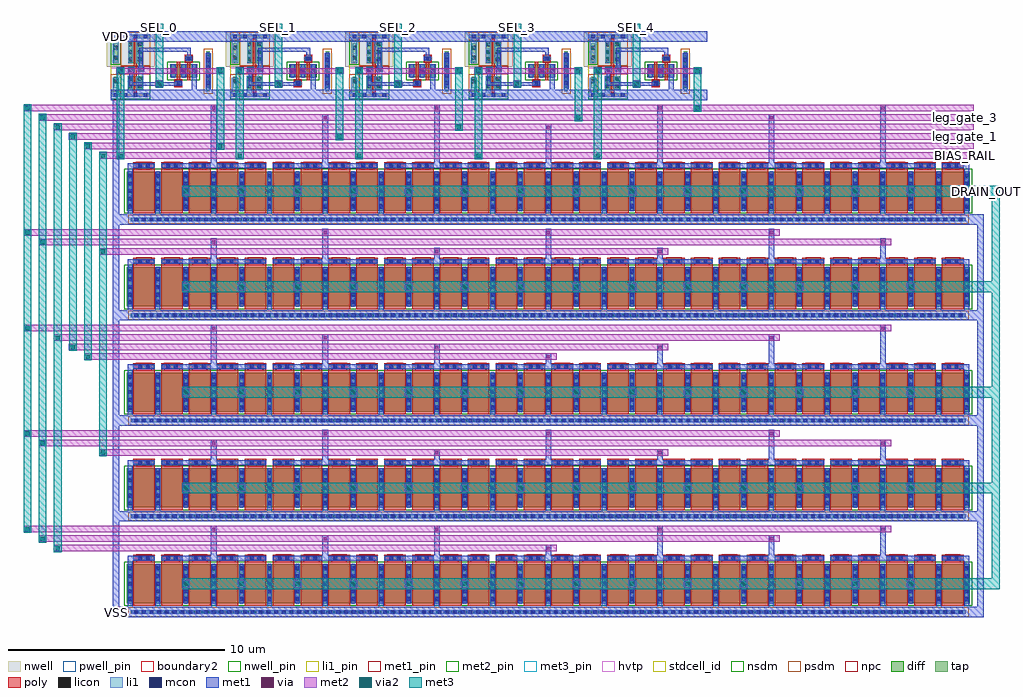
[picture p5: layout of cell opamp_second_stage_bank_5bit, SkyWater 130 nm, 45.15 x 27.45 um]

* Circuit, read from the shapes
.subckt opamp_second_stage_bank_5bit BIAS_RAIL DRAIN_OUT SEL_0 SEL_1 SEL_2 SEL_3 SEL_4 VDD VSS leg_gate_0 leg_gate_1 leg_gate_2 leg_gate_3 leg_gate_4
XM1 VSS VSS VSS VSS sky130_fd_pr__nfet_01v8 w=1.8 l=1 m=10
XM2 switch_nmos_gate_select_3/sel_b SEL_0 VSS VSS sky130_fd_pr__nfet_01v8 w=0.65 l=0.15
XM3 DRAIN_OUT leg_gate_4 VSS VSS sky130_fd_pr__nfet_01v8 w=1.8 l=1 m=64
XM4 DRAIN_OUT leg_gate_3 VSS VSS sky130_fd_pr__nfet_01v8 w=1.8 l=1 m=32
XM5 leg_gate_0 SEL_0 BIAS_RAIL VSS sky130_fd_pr__nfet_01v8 w=0.6 l=0.15
XM6 VSS switch_nmos_gate_select_3/sel_b leg_gate_0 VSS sky130_fd_pr__nfet_01v8 w=0.6 l=0.15
XM7 switch_nmos_gate_select_1/sel_b SEL_1 VSS VSS sky130_fd_pr__nfet_01v8 w=0.65 l=0.15
XM8 DRAIN_OUT leg_gate_2 VSS VSS sky130_fd_pr__nfet_01v8 w=1.8 l=1 m=16
XM9 leg_gate_1 SEL_1 BIAS_RAIL VSS sky130_fd_pr__nfet_01v8 w=0.6 l=0.15
XM10 VSS switch_nmos_gate_select_1/sel_b leg_gate_1 VSS sky130_fd_pr__nfet_01v8 w=0.6 l=0.15
XM11 switch_nmos_gate_select_7/sel_b SEL_2 VSS VSS sky130_fd_pr__nfet_01v8 w=0.65 l=0.15
XM12 DRAIN_OUT BIAS_RAIL VSS VSS sky130_fd_pr__nfet_01v8 w=1.8 l=1 m=16
XM13 DRAIN_OUT leg_gate_1 VSS VSS sky130_fd_pr__nfet_01v8 w=1.8 l=1 m=8
XM14 leg_gate_2 SEL_2 BIAS_RAIL VSS sky130_fd_pr__nfet_01v8 w=0.6 l=0.15
XM15 VSS switch_nmos_gate_select_7/sel_b leg_gate_2 VSS sky130_fd_pr__nfet_01v8 w=0.6 l=0.15
XM16 switch_nmos_gate_select_5/sel_b SEL_3 VSS VSS sky130_fd_pr__nfet_01v8 w=0.65 l=0.15
XM17 DRAIN_OUT leg_gate_0 VSS VSS sky130_fd_pr__nfet_01v8 w=1.8 l=1 m=4
XM18 leg_gate_3 SEL_3 BIAS_RAIL VSS sky130_fd_pr__nfet_01v8 w=0.6 l=0.15
XM19 VSS switch_nmos_gate_select_5/sel_b leg_gate_3 VSS sky130_fd_pr__nfet_01v8 w=0.6 l=0.15
XM20 switch_nmos_gate_select_0/sel_b SEL_4 VSS VSS sky130_fd_pr__nfet_01v8 w=0.65 l=0.15
XM21 leg_gate_4 SEL_4 BIAS_RAIL VSS sky130_fd_pr__nfet_01v8 w=0.6 l=0.15
XM22 VSS switch_nmos_gate_select_0/sel_b leg_gate_4 VSS sky130_fd_pr__nfet_01v8 w=0.6 l=0.15
XM23 switch_nmos_gate_select_3/sel_b SEL_0 VDD VDD sky130_fd_pr__pfet_01v8_hvt w=1 l=0.15
XM24 switch_nmos_gate_select_1/sel_b SEL_1 VDD VDD sky130_fd_pr__pfet_01v8_hvt w=1 l=0.15
XM25 switch_nmos_gate_select_7/sel_b SEL_2 VDD VDD sky130_fd_pr__pfet_01v8_hvt w=1 l=0.15
XM26 switch_nmos_gate_select_5/sel_b SEL_3 VDD VDD sky130_fd_pr__pfet_01v8_hvt w=1 l=0.15
XM27 switch_nmos_gate_select_0/sel_b SEL_4 VDD VDD sky130_fd_pr__pfet_01v8_hvt w=1 l=0.15
.ends

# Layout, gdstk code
import gdstk
lib = gdstk.Library(unit=1e-6, precision=1e-09)
def R(c, l, rs):  # rectangles x0, y0, x1, y1
    for r in rs: c.add(gdstk.rectangle(r[:2], r[2:], *l))
def A(c, l, x, y, w, h, nx, ny, dx, dy):  # array of equal rectangles
    R(c, l, [(x+i*dx, y+j*dy, x+i*dx+w, y+j*dy+h) for i in range(nx) for j in range(ny)])
def P(c, l, *ps):  # polygons
    for p in ps: c.add(gdstk.Polygon(p, *l))
nwell_pin = (64, 16)
nwell = (64, 20)
diff = (65, 20)
tap = (65, 44)
poly = (66, 20)
licon = (66, 44)
li1_pin = (67, 16)
li1 = (67, 20)
mcon = (67, 44)
met1_pin = (68, 16)
met1 = (68, 20)
via = (68, 44)
met2_pin = (69, 16)
met2 = (69, 20)
via2 = (69, 44)
met3_pin = (70, 16)
met3 = (70, 20)
hvtp = (78, 44)
stdcell_id = (81, 4)
nsdm = (93, 44)
psdm = (94, 20)
npc = (95, 20)
pwell_pin = (122, 16)
boundary2 = (236, 0)

sky130_fd_sc_hd__inv_1 = lib.new_cell('sky130_fd_sc_hd__inv_1')
R(sky130_fd_sc_hd__inv_1, nwell_pin, [(0.145,2.635,0.315,2.805), (0.145,2.635,0.315,2.805)])
R(sky130_fd_sc_hd__inv_1, nwell, [(-0.19,1.305,1.57,2.91)])
R(sky130_fd_sc_hd__inv_1, diff, [(0.34,0.235,1.01,0.885), (0.34,1.485,1.01,2.485)])
P(sky130_fd_sc_hd__inv_1, poly, [(0.6,0.105),(0.6,0.995),(0.32,0.995),(0.32,1.325),(0.6,1.325),(0.6,2.615),(0.75,2.615),(0.75,0.105)])
A(sky130_fd_sc_hd__inv_1, licon, 0.38, 1.575, 0.17, 0.17, 1, 3, 0, 0.34)
A(sky130_fd_sc_hd__inv_1, licon, 0.8, 1.575, 0.17, 0.17, 1, 3, 0, 0.34)
R(sky130_fd_sc_hd__inv_1, licon, [(0.38,0.315,0.55,0.485), (0.8,0.315,0.97,0.485), (0.38,0.655,0.55,0.825), (0.8,0.655,0.97,0.825), (0.4,1.075,0.57,1.245)])
R(sky130_fd_sc_hd__inv_1, li1_pin, [(0.36,1.105,0.53,1.275), (0.82,1.105,0.99,1.275), (0.82,1.445,0.99,1.615)])
R(sky130_fd_sc_hd__inv_1, li1, [(0,-0.085,1.38,0.085), (0.32,0.005,0.55,0.905), (0.32,1.075,0.65,1.315), (0.34,1.495,0.55,2.675), (0,2.635,1.38,2.805)])
P(sky130_fd_sc_hd__inv_1, li1, [(0.72,0.255),(0.72,0.885),(0.82,0.885),(0.82,1.485),(0.72,1.485),(0.72,2.465),(1.05,2.465),(1.05,0.255)])
A(sky130_fd_sc_hd__inv_1, mcon, 0.145, -0.085, 0.17, 0.17, 3, 2, 0.46, 2.72)
R(sky130_fd_sc_hd__inv_1, met1_pin, [(0.145,-0.085,0.315,0.085), (0.145,-0.085,0.315,0.085), (0.145,2.635,0.315,2.805), (0.145,2.635,0.315,2.805)])
R(sky130_fd_sc_hd__inv_1, hvtp, [(0,1.25,1.38,2.72)])
R(sky130_fd_sc_hd__inv_1, stdcell_id, [(0,0,1.38,2.72)])
R(sky130_fd_sc_hd__inv_1, nsdm, [(0,-0.19,1.38,1.015)])
R(sky130_fd_sc_hd__inv_1, psdm, [(0,1.355,1.38,2.91)])
R(sky130_fd_sc_hd__inv_1, npc, [(0,0.975,1.38,1.345)])
R(sky130_fd_sc_hd__inv_1, pwell_pin, [(0.145,-0.085,0.315,0.085), (0.145,-0.085,0.315,0.085)])
R(sky130_fd_sc_hd__inv_1, boundary2, [(0,0,1.38,2.72)])
sky130_fd_sc_hd__inv_1.add(gdstk.FlexPath([(0,0),(1.38,0)], 0.48, ends="flush", simple_path=True, layer=68, datatype=20))  # met1
sky130_fd_sc_hd__inv_1.add(gdstk.FlexPath([(0,2.72),(1.38,2.72)], 0.48, ends="flush", simple_path=True, layer=68, datatype=20))  # met1
sky130_fd_sc_hd__inv_1.add(gdstk.Label('VPWR', (0.23,2.72), layer=68, texttype=5))
sky130_fd_sc_hd__inv_1.add(gdstk.Label('VGND', (0.23,0), layer=68, texttype=5))
sky130_fd_sc_hd__inv_1.add(gdstk.Label('inv_1', (0,0), layer=83, texttype=44))
sky130_fd_sc_hd__inv_1.add(gdstk.Label('A', (0.445,1.19), layer=67, texttype=5))
sky130_fd_sc_hd__inv_1.add(gdstk.Label('Y', (0.905,1.19), layer=67, texttype=5))
sky130_fd_sc_hd__inv_1.add(gdstk.Label('Y', (0.905,1.53), layer=67, texttype=5))
sky130_fd_sc_hd__inv_1.add(gdstk.Label('VPB', (0.23,2.72), layer=64, texttype=5))
sky130_fd_sc_hd__inv_1.add(gdstk.Label('VNB', (0.23,0), layer=64, texttype=59))

sky130_fd_pr__nfet_01v8_ = lib.new_cell('sky130_fd_pr__nfet_01v8_QTFSA9')
R(sky130_fd_pr__nfet_01v8_, diff, [(-0.625,-0.3,0.625,0.3)])
R(sky130_fd_pr__nfet_01v8_, poly, [(-0.405,-0.74,-0.075,-0.41), (0.165,-0.43,0.315,0.41), (-0.315,-0.41,-0.165,0.43), (0.075,0.41,0.405,0.74)])
A(sky130_fd_pr__nfet_01v8_, licon, -0.565, -0.085, 0.17, 0.17, 3, 1, 0.48, 0)
R(sky130_fd_pr__nfet_01v8_, licon, [(-0.325,-0.66,-0.155,-0.49), (0.155,0.49,0.325,0.66)])
A(sky130_fd_pr__nfet_01v8_, li1, -0.565, -0.32, 0.17, 0.64, 3, 1, 0.48, 0)
R(sky130_fd_pr__nfet_01v8_, li1, [(-0.405,-0.66,-0.075,-0.49), (0.075,0.49,0.405,0.66)])
A(sky130_fd_pr__nfet_01v8_, mcon, -0.565, -0.085, 0.17, 0.17, 3, 1, 0.48, 0)
R(sky130_fd_pr__nfet_01v8_, mcon, [(-0.325,-0.66,-0.155,-0.49), (0.155,0.49,0.325,0.66)])
A(sky130_fd_pr__nfet_01v8_, met1, -0.595, -0.3, 0.23, 0.6, 3, 1, 0.48, 0)
R(sky130_fd_pr__nfet_01v8_, met1, [(-0.385,-0.69,-0.095,-0.46), (0.095,0.46,0.385,0.69)])
R(sky130_fd_pr__nfet_01v8_, nsdm, [(-0.75,-0.425,0.75,0.425)])
R(sky130_fd_pr__nfet_01v8_, npc, [(-0.425,-0.76,-0.055,-0.39), (0.055,0.39,0.425,0.76)])
sky130_fd_pr__nfet_01v8_.add(gdstk.Label('G1', (0.24,0.575), layer=67, texttype=5))
sky130_fd_pr__nfet_01v8_.add(gdstk.Label('S1', (0,0), layer=67, texttype=5))
sky130_fd_pr__nfet_01v8_.add(gdstk.Label('G0', (-0.24,-0.575), layer=67, texttype=5))
sky130_fd_pr__nfet_01v8_.add(gdstk.Label('D0', (-0.48,0), layer=67, texttype=5))

sky130_fd_sc_hd__tapvpwr = lib.new_cell('sky130_fd_sc_hd__tapvpwrvgnd_1')
R(sky130_fd_sc_hd__tapvpwr, nwell, [(-0.19,1.305,0.65,2.91)])
R(sky130_fd_sc_hd__tapvpwr, tap, [(0.145,0.32,0.315,0.845), (0.145,1.525,0.315,2.4)])
R(sky130_fd_sc_hd__tapvpwr, licon, [(0.145,0.555,0.315,0.725), (0.145,1.645,0.315,1.815), (0.145,2.11,0.315,2.28)])
R(sky130_fd_sc_hd__tapvpwr, li1, [(0,-0.085,0.46,0.085), (0.085,0,0.375,0.81), (0.085,1.47,0.375,2.72), (0,2.635,0.46,2.805)])
R(sky130_fd_sc_hd__tapvpwr, mcon, [(0.145,-0.085,0.315,0.085), (0.145,2.635,0.315,2.805)])
R(sky130_fd_sc_hd__tapvpwr, met1_pin, [(0.105,-0.09,0.36,0.1), (0.11,2.62,0.375,2.765)])
R(sky130_fd_sc_hd__tapvpwr, met1, [(0,-0.24,0.46,0.24), (0,2.48,0.46,2.96)])
R(sky130_fd_sc_hd__tapvpwr, hvtp, [(0,1.25,0.46,2.72)])
R(sky130_fd_sc_hd__tapvpwr, stdcell_id, [(0,0,0.46,2.72)])
R(sky130_fd_sc_hd__tapvpwr, nsdm, [(0,-0.19,0.46,0.19), (0,1.395,0.46,2.53)])
R(sky130_fd_sc_hd__tapvpwr, psdm, [(0,0.19,0.46,0.975), (0,2.53,0.46,2.91)])
sky130_fd_sc_hd__tapvpwr.add(gdstk.Label('VGND', (0.23,0), layer=68, texttype=5))
sky130_fd_sc_hd__tapvpwr.add(gdstk.Label('VPWR', (0.23,2.72), layer=68, texttype=5))
sky130_fd_sc_hd__tapvpwr.add(gdstk.Label('tapvpwrvgnd_1', (0,0), layer=83, texttype=44))

switch_nmos_gate_select = lib.new_cell('switch_nmos_gate_select')
R(switch_nmos_gate_select, tap, [(4.42,0.18,4.59,2.02)])
A(switch_nmos_gate_select, licon, 4.42, 0.335, 0.17, 0.17, 1, 5, 0, 0.34)
R(switch_nmos_gate_select, li1, [(4.42,0.22,4.59,1.98), (0.86,1.075,1.03,1.245), (1.31,1.105,1.48,1.275)])
A(switch_nmos_gate_select, mcon, 4.42, 0.475, 0.17, 0.17, 1, 4, 0, 0.36)
R(switch_nmos_gate_select, mcon, [(0.86,1.075,1.03,1.245), (1.31,1.105,1.48,1.275)])
R(switch_nmos_gate_select, met1_pin, [(0,-0.24,0.46,0.24), (0,2.48,0.46,2.96)])
R(switch_nmos_gate_select, met1, [(0,-0.24,5.52,0.24), (3.74,0.24,3.97,0.92), (4.39,0.24,4.62,1.93), (2.09,0.39,2.41,0.435), (0.86,0.435,3.22,0.605), (0.86,0.605,1.03,1.045), (2.09,0.605,2.41,0.65), (3.05,0.605,3.22,0.63), (2.765,0.96,3.025,1.28), (3.245,0.96,3.505,1.28), (0.8,1.045,1.09,1.275), (1.25,1.075,1.54,1.305), (1.31,1.305,1.48,2.015), (3.53,1.61,3.7,2.015), (1.31,2.015,3.7,2.185), (0,2.48,5.52,2.96)])
R(switch_nmos_gate_select, via, [(2.175,0.445,2.325,0.595), (2.82,1.045,2.97,1.195), (3.3,1.045,3.45,1.195)])
R(switch_nmos_gate_select, met2, [(2.12,0.36,2.38,0.38), (2.065,0.38,2.435,0.66), (2.12,0.66,2.38,0.68), (0.265,0.98,0.635,0.99), (4.885,0.98,5.255,0.99), (0.265,0.99,3.055,1.25), (3.215,0.99,5.255,1.25), (0.265,1.25,0.635,1.26), (4.885,1.25,5.255,1.26)])
R(switch_nmos_gate_select, via2, [(2.15,0.42,2.35,0.62), (0.35,1.02,0.55,1.22), (4.97,1.02,5.17,1.22)])
R(switch_nmos_gate_select, met3_pin, [(2.1,0.37,2.4,0.67), (0.3,0.97,0.6,1.27), (4.92,0.97,5.22,1.27)])
R(switch_nmos_gate_select, met3, [(2.075,0.345,2.425,1.045), (0.275,0.595,0.625,1.295), (4.895,0.595,5.245,1.295)])
R(switch_nmos_gate_select, psdm, [(4.295,0.055,4.715,2.145)])
switch_nmos_gate_select.add(gdstk.Reference(sky130_fd_sc_hd__inv_1, (0.46,0)))
switch_nmos_gate_select.add(gdstk.Reference(sky130_fd_pr__nfet_01v8_, (3.375,1.12)))
switch_nmos_gate_select.add(gdstk.Reference(sky130_fd_sc_hd__tapvpwr, (0,0)))
switch_nmos_gate_select.add(gdstk.Label('VSS', (0.23,0), layer=68, texttype=5))
switch_nmos_gate_select.add(gdstk.Label('VDD', (0.23,2.72), layer=68, texttype=5))
switch_nmos_gate_select.add(gdstk.Label('sel_b', (2.505,2.1), layer=68, texttype=5))
switch_nmos_gate_select.add(gdstk.Label('SEL', (2.25,0.52), layer=70, texttype=5))
switch_nmos_gate_select.add(gdstk.Label('LEG_GATE', (5.07,1.12), layer=70, texttype=5))
switch_nmos_gate_select.add(gdstk.Label('BIAS_RAIL', (0.45,1.12), layer=70, texttype=5))

c_sky130_fd_pr__nfet_01v8_ = lib.new_cell('sky130_fd_pr__nfet_01v8_87RVEL')
R(c_sky130_fd_pr__nfet_01v8_, diff, [(-19.495,-1.055,19.495,0.745)])
A(c_sky130_fd_pr__nfet_01v8_, poly, -19.205, -1.185, 1, 2.37, 30, 1, 1.29, 0)
A(c_sky130_fd_pr__nfet_01v8_, licon, -19.435, -0.92, 0.17, 0.17, 31, 5, 1.29, 0.34)
R(c_sky130_fd_pr__nfet_01v8_, licon, [(-18.96,0.935,-18.79,1.105), (-18.62,0.935,-18.45,1.105), (-17.67,0.935,-17.5,1.105), (-17.33,0.935,-17.16,1.105), (-16.38,0.935,-16.21,1.105), (-16.04,0.935,-15.87,1.105), (-15.09,0.935,-14.92,1.105), (-14.75,0.935,-14.58,1.105), (-13.8,0.935,-13.63,1.105), (-13.46,0.935,-13.29,1.105), (-12.51,0.935,-12.34,1.105), (-12.17,0.935,-12,1.105), (-11.22,0.935,-11.05,1.105), (-10.88,0.935,-10.71,1.105), (-9.93,0.935,-9.76,1.105), (-9.59,0.935,-9.42,1.105), (-8.64,0.935,-8.47,1.105), (-8.3,0.935,-8.13,1.105), (-7.35,0.935,-7.18,1.105), (-7.01,0.935,-6.84,1.105), (-6.06,0.935,-5.89,1.105), (-5.72,0.935,-5.55,1.105), (-4.77,0.935,-4.6,1.105), (-4.43,0.935,-4.26,1.105), (-3.48,0.935,-3.31,1.105), (-3.14,0.935,-2.97,1.105), (-2.19,0.935,-2.02,1.105), (-1.85,0.935,-1.68,1.105), (-0.9,0.935,-0.73,1.105), (-0.56,0.935,-0.39,1.105), (0.39,0.935,0.56,1.105), (0.73,0.935,0.9,1.105), (1.68,0.935,1.85,1.105), (2.02,0.935,2.19,1.105), (2.97,0.935,3.14,1.105), (3.31,0.935,3.48,1.105), (4.26,0.935,4.43,1.105), (4.6,0.935,4.77,1.105), (5.55,0.935,5.72,1.105), (5.89,0.935,6.06,1.105), (6.84,0.935,7.01,1.105), (7.18,0.935,7.35,1.105), (8.13,0.935,8.3,1.105), (8.47,0.935,8.64,1.105), (9.42,0.935,9.59,1.105), (9.76,0.935,9.93,1.105), (10.71,0.935,10.88,1.105), (11.05,0.935,11.22,1.105), (12,0.935,12.17,1.105), (12.34,0.935,12.51,1.105), (13.29,0.935,13.46,1.105), (13.63,0.935,13.8,1.105), (14.58,0.935,14.75,1.105), (14.92,0.935,15.09,1.105), (15.87,0.935,16.04,1.105), (16.21,0.935,16.38,1.105), (17.16,0.935,17.33,1.105), (17.5,0.935,17.67,1.105), (18.45,0.935,18.62,1.105), (18.79,0.935,18.96,1.105)])
A(c_sky130_fd_pr__nfet_01v8_, li1, -19.435, -1.075, 0.17, 1.84, 31, 1, 1.29, 0)
A(c_sky130_fd_pr__nfet_01v8_, li1, -19.205, 0.935, 1, 0.17, 30, 1, 1.29, 0)
A(c_sky130_fd_pr__nfet_01v8_, mcon, -19.435, -0.96, 0.17, 0.17, 31, 5, 1.29, 0.36)
R(c_sky130_fd_pr__nfet_01v8_, mcon, [(-18.97,0.935,-18.8,1.105), (-18.61,0.935,-18.44,1.105), (-17.68,0.935,-17.51,1.105), (-17.32,0.935,-17.15,1.105), (-16.39,0.935,-16.22,1.105), (-16.03,0.935,-15.86,1.105), (-15.1,0.935,-14.93,1.105), (-14.74,0.935,-14.57,1.105), (-13.81,0.935,-13.64,1.105), (-13.45,0.935,-13.28,1.105), (-12.52,0.935,-12.35,1.105), (-12.16,0.935,-11.99,1.105), (-11.23,0.935,-11.06,1.105), (-10.87,0.935,-10.7,1.105), (-9.94,0.935,-9.77,1.105), (-9.58,0.935,-9.41,1.105), (-8.65,0.935,-8.48,1.105), (-8.29,0.935,-8.12,1.105), (-7.36,0.935,-7.19,1.105), (-7,0.935,-6.83,1.105), (-6.07,0.935,-5.9,1.105), (-5.71,0.935,-5.54,1.105), (-4.78,0.935,-4.61,1.105), (-4.42,0.935,-4.25,1.105), (-3.49,0.935,-3.32,1.105), (-3.13,0.935,-2.96,1.105), (-2.2,0.935,-2.03,1.105), (-1.84,0.935,-1.67,1.105), (-0.91,0.935,-0.74,1.105), (-0.55,0.935,-0.38,1.105), (0.38,0.935,0.55,1.105), (0.74,0.935,0.91,1.105), (1.67,0.935,1.84,1.105), (2.03,0.935,2.2,1.105), (2.96,0.935,3.13,1.105), (3.32,0.935,3.49,1.105), (4.25,0.935,4.42,1.105), (4.61,0.935,4.78,1.105), (5.54,0.935,5.71,1.105), (5.9,0.935,6.07,1.105), (6.83,0.935,7,1.105), (7.19,0.935,7.36,1.105), (8.12,0.935,8.29,1.105), (8.48,0.935,8.65,1.105), (9.41,0.935,9.58,1.105), (9.77,0.935,9.94,1.105), (10.7,0.935,10.87,1.105), (11.06,0.935,11.23,1.105), (11.99,0.935,12.16,1.105), (12.35,0.935,12.52,1.105), (13.28,0.935,13.45,1.105), (13.64,0.935,13.81,1.105), (14.57,0.935,14.74,1.105), (14.93,0.935,15.1,1.105), (15.86,0.935,16.03,1.105), (16.22,0.935,16.39,1.105), (17.15,0.935,17.32,1.105), (17.51,0.935,17.68,1.105), (18.44,0.935,18.61,1.105), (18.8,0.935,18.97,1.105)])
A(c_sky130_fd_pr__nfet_01v8_, met1, -19.465, -1.055, 0.23, 1.8, 31, 1, 1.29, 0)
A(c_sky130_fd_pr__nfet_01v8_, met1, -19.185, 0.905, 0.96, 0.23, 30, 1, 1.29, 0)
R(c_sky130_fd_pr__nfet_01v8_, nsdm, [(-19.62,-1.18,19.62,0.87)])
A(c_sky130_fd_pr__nfet_01v8_, npc, -19.06, 0.835, 0.71, 0.37, 30, 1, 1.29, 0)
c_sky130_fd_pr__nfet_01v8_.add(gdstk.Label('D14', (-1.29,-0.155), layer=67, texttype=5))
c_sky130_fd_pr__nfet_01v8_.add(gdstk.Label('G12', (-3.225,1.02), layer=67, texttype=5))
c_sky130_fd_pr__nfet_01v8_.add(gdstk.Label('G24', (12.255,1.02), layer=67, texttype=5))
c_sky130_fd_pr__nfet_01v8_.add(gdstk.Label('G11', (-4.515,1.02), layer=67, texttype=5))
c_sky130_fd_pr__nfet_01v8_.add(gdstk.Label('G3', (-14.835,1.02), layer=67, texttype=5))
c_sky130_fd_pr__nfet_01v8_.add(gdstk.Label('G10', (-5.805,1.02), layer=67, texttype=5))
c_sky130_fd_pr__nfet_01v8_.add(gdstk.Label('G5', (-12.255,1.02), layer=67, texttype=5))
c_sky130_fd_pr__nfet_01v8_.add(gdstk.Label('D10', (-6.45,-0.155), layer=67, texttype=5))
c_sky130_fd_pr__nfet_01v8_.add(gdstk.Label('G9', (-7.095,1.02), layer=67, texttype=5))
c_sky130_fd_pr__nfet_01v8_.add(gdstk.Label('G27', (16.125,1.02), layer=67, texttype=5))
c_sky130_fd_pr__nfet_01v8_.add(gdstk.Label('S9', (-7.74,-0.155), layer=67, texttype=5))
c_sky130_fd_pr__nfet_01v8_.add(gdstk.Label('S7', (-10.32,-0.155), layer=67, texttype=5))
c_sky130_fd_pr__nfet_01v8_.add(gdstk.Label('G6', (-10.965,1.02), layer=67, texttype=5))
c_sky130_fd_pr__nfet_01v8_.add(gdstk.Label('D0', (-19.35,-0.155), layer=67, texttype=5))
c_sky130_fd_pr__nfet_01v8_.add(gdstk.Label('G16', (1.935,1.02), layer=67, texttype=5))
c_sky130_fd_pr__nfet_01v8_.add(gdstk.Label('G8', (-8.385,1.02), layer=67, texttype=5))
c_sky130_fd_pr__nfet_01v8_.add(gdstk.Label('D8', (-9.03,-0.155), layer=67, texttype=5))
c_sky130_fd_pr__nfet_01v8_.add(gdstk.Label('G1', (-17.415,1.02), layer=67, texttype=5))
c_sky130_fd_pr__nfet_01v8_.add(gdstk.Label('D2', (-16.77,-0.155), layer=67, texttype=5))
c_sky130_fd_pr__nfet_01v8_.add(gdstk.Label('S21', (7.74,-0.155), layer=67, texttype=5))
c_sky130_fd_pr__nfet_01v8_.add(gdstk.Label('G7', (-9.675,1.02), layer=67, texttype=5))
c_sky130_fd_pr__nfet_01v8_.add(gdstk.Label('G18', (4.515,1.02), layer=67, texttype=5))
c_sky130_fd_pr__nfet_01v8_.add(gdstk.Label('S3', (-15.48,-0.155), layer=67, texttype=5))
c_sky130_fd_pr__nfet_01v8_.add(gdstk.Label('D18', (3.87,-0.155), layer=67, texttype=5))
c_sky130_fd_pr__nfet_01v8_.add(gdstk.Label('D6', (-11.61,-0.155), layer=67, texttype=5))
c_sky130_fd_pr__nfet_01v8_.add(gdstk.Label('G22', (9.675,1.02), layer=67, texttype=5))
c_sky130_fd_pr__nfet_01v8_.add(gdstk.Label('S1', (-18.06,-0.155), layer=67, texttype=5))
c_sky130_fd_pr__nfet_01v8_.add(gdstk.Label('D4', (-14.19,-0.155), layer=67, texttype=5))
c_sky130_fd_pr__nfet_01v8_.add(gdstk.Label('S5', (-12.9,-0.155), layer=67, texttype=5))
c_sky130_fd_pr__nfet_01v8_.add(gdstk.Label('G0', (-18.705,1.02), layer=67, texttype=5))
c_sky130_fd_pr__nfet_01v8_.add(gdstk.Label('D22', (9.03,-0.155), layer=67, texttype=5))
c_sky130_fd_pr__nfet_01v8_.add(gdstk.Label('G4', (-13.545,1.02), layer=67, texttype=5))
c_sky130_fd_pr__nfet_01v8_.add(gdstk.Label('S17', (2.58,-0.155), layer=67, texttype=5))
c_sky130_fd_pr__nfet_01v8_.add(gdstk.Label('G2', (-16.125,1.02), layer=67, texttype=5))
c_sky130_fd_pr__nfet_01v8_.add(gdstk.Label('G14', (-0.645,1.02), layer=67, texttype=5))
c_sky130_fd_pr__nfet_01v8_.add(gdstk.Label('D16', (1.29,-0.155), layer=67, texttype=5))
c_sky130_fd_pr__nfet_01v8_.add(gdstk.Label('S11', (-5.16,-0.155), layer=67, texttype=5))
c_sky130_fd_pr__nfet_01v8_.add(gdstk.Label('G15', (0.645,1.02), layer=67, texttype=5))
c_sky130_fd_pr__nfet_01v8_.add(gdstk.Label('D20', (6.45,-0.155), layer=67, texttype=5))
c_sky130_fd_pr__nfet_01v8_.add(gdstk.Label('G17', (3.225,1.02), layer=67, texttype=5))
c_sky130_fd_pr__nfet_01v8_.add(gdstk.Label('G13', (-1.935,1.02), layer=67, texttype=5))
c_sky130_fd_pr__nfet_01v8_.add(gdstk.Label('G19', (5.805,1.02), layer=67, texttype=5))
c_sky130_fd_pr__nfet_01v8_.add(gdstk.Label('S25', (12.9,-0.155), layer=67, texttype=5))
c_sky130_fd_pr__nfet_01v8_.add(gdstk.Label('G20', (7.095,1.02), layer=67, texttype=5))
c_sky130_fd_pr__nfet_01v8_.add(gdstk.Label('G21', (8.385,1.02), layer=67, texttype=5))
c_sky130_fd_pr__nfet_01v8_.add(gdstk.Label('G28', (17.415,1.02), layer=67, texttype=5))
c_sky130_fd_pr__nfet_01v8_.add(gdstk.Label('D28', (16.77,-0.155), layer=67, texttype=5))
c_sky130_fd_pr__nfet_01v8_.add(gdstk.Label('D12', (-3.87,-0.155), layer=67, texttype=5))
c_sky130_fd_pr__nfet_01v8_.add(gdstk.Label('S23', (10.32,-0.155), layer=67, texttype=5))
c_sky130_fd_pr__nfet_01v8_.add(gdstk.Label('G25', (13.545,1.02), layer=67, texttype=5))
c_sky130_fd_pr__nfet_01v8_.add(gdstk.Label('G29', (18.705,1.02), layer=67, texttype=5))
c_sky130_fd_pr__nfet_01v8_.add(gdstk.Label('S13', (-2.58,-0.155), layer=67, texttype=5))
c_sky130_fd_pr__nfet_01v8_.add(gdstk.Label('G23', (10.965,1.02), layer=67, texttype=5))
c_sky130_fd_pr__nfet_01v8_.add(gdstk.Label('D24', (11.61,-0.155), layer=67, texttype=5))
c_sky130_fd_pr__nfet_01v8_.add(gdstk.Label('D26', (14.19,-0.155), layer=67, texttype=5))
c_sky130_fd_pr__nfet_01v8_.add(gdstk.Label('G26', (14.835,1.02), layer=67, texttype=5))
c_sky130_fd_pr__nfet_01v8_.add(gdstk.Label('S19', (5.16,-0.155), layer=67, texttype=5))
c_sky130_fd_pr__nfet_01v8_.add(gdstk.Label('S15', (0,-0.155), layer=67, texttype=5))
c_sky130_fd_pr__nfet_01v8_.add(gdstk.Label('S27', (15.48,-0.155), layer=67, texttype=5))
c_sky130_fd_pr__nfet_01v8_.add(gdstk.Label('S29', (18.06,-0.155), layer=67, texttype=5))

opamp_second_stage_bank_ = lib.new_cell('opamp_second_stage_bank_5bit')
A(opamp_second_stage_bank_, tap, 0.18, 0.155, 38.63, 0.17, 1, 3, 0, 4.43)
R(opamp_second_stage_bank_, tap, [(0.18,13.885,38.81,14.055), (0.18,18.315,38.81,18.485)])
A(opamp_second_stage_bank_, licon, 0.37, 0.155, 0.17, 0.17, 113, 3, 0.34, 4.43)
A(opamp_second_stage_bank_, licon, 0.37, 13.885, 0.17, 0.17, 113, 2, 0.34, 4.43)
A(opamp_second_stage_bank_, li1, 0.22, 0.155, 38.55, 0.17, 1, 3, 0, 4.43)
R(opamp_second_stage_bank_, li1, [(0.22,13.885,38.77,14.055), (0.22,18.315,38.77,18.485)])
A(opamp_second_stage_bank_, mcon, 0.33, 0.155, 0.17, 0.17, 107, 3, 0.36, 4.43)
A(opamp_second_stage_bank_, mcon, 0.33, 13.885, 0.17, 0.17, 107, 2, 0.36, 4.43)
R(opamp_second_stage_bank_, met1_pin, [(-0.65,0,-0.35,0.48), (-0.75,26.63,-0.29,27.11)])
A(opamp_second_stage_bank_, met1, -0.65, 0, 40.29, 0.48, 1, 3, 0, 4.43)
A(opamp_second_stage_bank_, met1, 0.03, 0.48, 0.23, 0.22, 1, 3, 0, 4.43)
A(opamp_second_stage_bank_, met1, 1.32, 0.48, 0.23, 0.22, 15, 3, 2.58, 4.43)
A(opamp_second_stage_bank_, met1, 38.73, 0.48, 0.23, 0.22, 1, 3, 0, 4.43)
A(opamp_second_stage_bank_, met1, 2.595, 1.39, 0.26, 0.32, 14, 3, 2.58, 4.43)
A(opamp_second_stage_bank_, met1, 0.03, 2.4, 0.23, 0.21, 1, 3, 0, 4.43)
A(opamp_second_stage_bank_, met1, 38.73, 2.4, 0.23, 0.21, 1, 3, 0, 4.43)
A(opamp_second_stage_bank_, met1, 0.03, 2.61, 1.24, 0.23, 1, 3, 0, 4.43)
A(opamp_second_stage_bank_, met1, 1.6, 2.61, 4.83, 0.23, 7, 3, 5.16, 4.43)
A(opamp_second_stage_bank_, met1, 37.72, 2.61, 1.24, 0.23, 1, 3, 0, 4.43)
A(opamp_second_stage_bank_, met1, 3.885, 2.84, 0.26, 1.39, 4, 1, 10.32, 0)
A(opamp_second_stage_bank_, met1, 9.045, 7.27, 0.26, 1.39, 3, 2, 10.32, 9.3)
A(opamp_second_stage_bank_, met1, 1.32, 14.21, 0.23, 0.22, 15, 2, 2.58, 4.43)
A(opamp_second_stage_bank_, met1, 2.595, 15.12, 0.26, 0.32, 14, 2, 2.58, 4.43)
A(opamp_second_stage_bank_, met1, 1.6, 16.34, 4.83, 0.23, 7, 2, 5.16, 4.43)
A(opamp_second_stage_bank_, met1, 3.885, 21, 0.26, 2.71, 4, 1, 10.32, 0)
R(opamp_second_stage_bank_, met1, [(-0.65,0.48,-0.35,4.43), (39.34,0.48,39.64,4.43), (9.045,2.84,9.305,3.79), (19.365,2.84,19.625,3.35), (29.685,2.84,29.945,3.79), (-0.65,4.91,-0.35,8.86), (39.34,4.91,39.64,8.86), (3.885,7.27,4.145,8.22), (14.205,7.27,14.465,7.78), (24.525,7.27,24.785,7.78), (34.845,7.27,35.105,8.22), (-0.65,9.34,-0.35,13.73), (39.34,9.34,39.64,13.73), (3.885,11.7,4.145,13.53), (9.045,11.7,9.305,13.09), (14.205,11.7,14.465,12.65), (19.365,11.7,19.625,12.21), (24.525,11.7,24.785,12.65), (29.685,11.7,29.945,13.09), (34.845,11.7,35.105,13.53), (-0.65,13.73,39.64,14.21), (-0.65,14.21,-0.35,18.16), (0.03,14.21,0.26,14.43), (38.73,14.21,38.96,14.43), (39.34,14.21,39.64,18.16), (0.03,16.13,0.26,16.34), (38.73,16.13,38.96,16.34), (0.03,16.34,1.27,16.57), (37.72,16.34,38.96,16.57), (3.885,16.57,4.145,17.52), (14.205,16.57,14.465,17.08), (24.525,16.57,24.785,17.08), (34.845,16.57,35.105,17.52), (-0.65,18.16,39.64,18.64), (-0.65,18.64,-0.35,24.15), (0.03,18.64,0.26,18.86), (38.73,18.64,38.96,18.86), (0.03,20.56,0.26,20.77), (38.73,20.56,38.96,20.77), (0.03,20.77,1.27,21), (37.72,20.77,38.96,21), (9.045,21,9.305,23.27), (19.365,21,19.625,22.83), (29.685,21,29.945,23.27), (-0.75,26.63,26.85,27.11)])
A(opamp_second_stage_bank_, via, 2.65, 1.475, 0.15, 0.15, 14, 3, 2.58, 4.43)
A(opamp_second_stage_bank_, via, 3.94, 3.995, 0.15, 0.15, 4, 2, 10.32, 19.48)
A(opamp_second_stage_bank_, via, 9.1, 8.425, 0.15, 0.15, 3, 2, 10.32, 9.3)
A(opamp_second_stage_bank_, via, 2.65, 15.205, 0.15, 0.15, 14, 2, 2.58, 4.43)
R(opamp_second_stage_bank_, via, [(19.42,3.115,19.57,3.265), (9.1,3.555,9.25,3.705), (29.74,3.555,29.89,3.705), (14.26,7.545,14.41,7.695), (24.58,7.545,24.73,7.695), (3.94,7.985,4.09,8.135), (34.9,7.985,35.05,8.135), (19.42,11.975,19.57,12.125), (14.26,12.415,14.41,12.565), (24.58,12.415,24.73,12.565), (9.1,12.855,9.25,13.005), (29.74,12.855,29.89,13.005), (3.94,13.295,4.09,13.445), (34.9,13.295,35.05,13.445), (14.26,16.845,14.41,16.995), (24.58,16.845,24.73,16.995), (3.94,17.285,4.09,17.435), (34.9,17.285,35.05,17.435), (19.42,22.595,19.57,22.745), (9.1,23.035,9.25,23.185), (29.74,23.035,29.89,23.185)])
R(opamp_second_stage_bank_, met2_pin, [(38.59,21.2,38.99,21.5)])
A(opamp_second_stage_bank_, met2, 2.54, 1.365, 0.37, 0.37, 14, 3, 2.58, 4.43)
A(opamp_second_stage_bank_, met2, 2.54, 15.095, 0.37, 0.37, 14, 2, 2.58, 4.43)
R(opamp_second_stage_bank_, met2, [(-3.385,3.04,19.88,3.34), (-4.085,3.48,30.2,3.78), (-4.785,3.92,35.36,4.22), (-1.285,7.47,25.04,7.77), (-4.085,7.91,35.36,8.21), (-4.785,8.35,30.2,8.65), (-1.985,11.9,19.88,12.2), (-2.685,12.34,25.04,12.64), (-3.385,12.78,30.2,13.08), (-4.785,13.22,35.36,13.52), (-1.285,16.77,25.04,17.07), (-4.085,17.21,35.36,17.51), (-4.785,17.65,30.2,17.95), (-1.285,21.2,39.175,21.5), (-1.985,21.64,39.175,21.94), (-2.685,22.08,39.175,22.38), (-3.385,22.52,39.175,22.82), (-4.085,22.96,39.175,23.26), (-4.785,23.4,39.175,23.7)])
A(opamp_second_stage_bank_, via2, 2.625, 1.45, 0.2, 0.2, 14, 3, 2.58, 4.43)
A(opamp_second_stage_bank_, via2, -3.3, 3.09, 0.2, 0.2, 1, 3, 0, 9.74)
A(opamp_second_stage_bank_, via2, 2.625, 15.18, 0.2, 0.2, 14, 2, 2.58, 4.43)
A(opamp_second_stage_bank_, via2, -0.4, 21.25, 0.2, 0.2, 5, 1, 5.52, 0)
R(opamp_second_stage_bank_, via2, [(-4,3.53,-3.8,3.73), (-4.7,3.97,-4.5,4.17), (-1.2,7.52,-1,7.72), (-4,7.96,-3.8,8.16), (-4.7,8.4,-4.5,8.6), (-1.9,11.95,-1.7,12.15), (-2.6,12.39,-2.4,12.59), (-4.7,13.27,-4.5,13.47), (-1.2,16.82,-1,17.02), (-4,17.26,-3.8,17.46), (-4.7,17.7,-4.5,17.9), (-1.2,21.25,-1,21.45), (-1.9,21.69,-1.7,21.89), (4.22,21.69,4.42,21.89), (-2.6,22.13,-2.4,22.33), (9.74,22.13,9.94,22.33), (15.26,22.57,15.46,22.77), (-4,23.01,-3.8,23.21), (20.78,23.01,20.98,23.21), (-4.7,23.45,-4.5,23.65), (26.3,23.45,26.5,23.65)])
A(opamp_second_stage_bank_, met3_pin, 1.325, 27.15, 0.35, 0.3, 5, 1, 5.52, 0)
R(opamp_second_stage_bank_, met3_pin, [(40.015,19.46,40.365,19.96)])
A(opamp_second_stage_bank_, met3, 2.55, 1.3, 37.815, 0.5, 1, 3, 0, 4.43)
A(opamp_second_stage_bank_, met3, -0.475, 21.175, 0.35, 4.095, 5, 1, 5.52, 0)
A(opamp_second_stage_bank_, met3, 1.325, 24.67, 0.35, 2.78, 5, 1, 5.52, 0)
R(opamp_second_stage_bank_, met3, [(40.015,1.8,40.365,5.73), (-3.375,3.015,-3.025,22.845), (-4.075,3.455,-3.725,23.285), (-4.775,3.895,-4.425,23.725), (40.015,6.23,40.365,10.16), (-1.275,7.445,-0.925,21.525), (40.015,10.66,40.365,15.03), (-1.975,11.875,-1.625,21.965), (-2.675,12.315,-2.325,22.405), (2.55,15.03,40.365,15.53), (40.015,15.53,40.365,19.46), (2.55,19.46,40.365,19.96), (4.145,21.615,4.495,25.27), (9.665,22.055,10.015,25.27), (15.185,22.495,15.535,25.27), (20.705,22.935,21.055,25.27), (26.225,23.375,26.575,25.27)])
A(opamp_second_stage_bank_, psdm, 0.055, 0.03, 38.88, 0.42, 1, 3, 0, 4.43)
R(opamp_second_stage_bank_, psdm, [(0.055,13.76,38.935,14.18), (0.055,18.19,38.935,18.61)])
opamp_second_stage_bank_.add(gdstk.Reference(switch_nmos_gate_select, (21.33,24.15)))
opamp_second_stage_bank_.add(gdstk.Reference(switch_nmos_gate_select, (4.77,24.15)))
opamp_second_stage_bank_.add(gdstk.Reference(c_sky130_fd_pr__nfet_01v8_, (19.495,19.865)))
opamp_second_stage_bank_.add(gdstk.Reference(switch_nmos_gate_select, (-0.75,24.15)))
opamp_second_stage_bank_.add(gdstk.Reference(c_sky130_fd_pr__nfet_01v8_, (19.495,15.435)))
opamp_second_stage_bank_.add(gdstk.Reference(switch_nmos_gate_select, (15.81,24.15)))
opamp_second_stage_bank_.add(gdstk.Reference(c_sky130_fd_pr__nfet_01v8_, (19.495,10.565)))
opamp_second_stage_bank_.add(gdstk.Reference(switch_nmos_gate_select, (10.29,24.15)))
opamp_second_stage_bank_.add(gdstk.Reference(c_sky130_fd_pr__nfet_01v8_, (19.495,6.135)))
opamp_second_stage_bank_.add(gdstk.Reference(c_sky130_fd_pr__nfet_01v8_, (19.495,1.705)))
opamp_second_stage_bank_.add(gdstk.Label('VSS', (-0.5,0.24), layer=68, texttype=5))
opamp_second_stage_bank_.add(gdstk.Label('VDD', (-0.52,26.87), layer=68, texttype=5))
opamp_second_stage_bank_.add(gdstk.Label('SEL_4', (23.58,27.3), layer=70, texttype=5))
opamp_second_stage_bank_.add(gdstk.Label('SEL_3', (18.06,27.3), layer=70, texttype=5))
opamp_second_stage_bank_.add(gdstk.Label('SEL_2', (12.54,27.3), layer=70, texttype=5))
opamp_second_stage_bank_.add(gdstk.Label('SEL_1', (7.02,27.3), layer=70, texttype=5))
opamp_second_stage_bank_.add(gdstk.Label('DRAIN_OUT', (40.19,19.71), layer=70, texttype=5))
opamp_second_stage_bank_.add(gdstk.Label('SEL_0', (1.5,27.3), layer=70, texttype=5))
opamp_second_stage_bank_.add(gdstk.Label('BIAS_RAIL', (38.79,21.35), layer=69, texttype=5))
opamp_second_stage_bank_.add(gdstk.Label('leg_gate_3', (38.79,23.11), layer=69, texttype=5))
opamp_second_stage_bank_.add(gdstk.Label('leg_gate_2', (38.79,22.67), layer=69, texttype=5))
opamp_second_stage_bank_.add(gdstk.Label('leg_gate_4', (38.79,23.55), layer=69, texttype=5))
opamp_second_stage_bank_.add(gdstk.Label('leg_gate_1', (38.79,22.23), layer=69, texttype=5))
opamp_second_stage_bank_.add(gdstk.Label('leg_gate_0', (38.79,21.79), layer=69, texttype=5))

lib.write_gds('opamp_second_stage_bank_5bit.gds')
